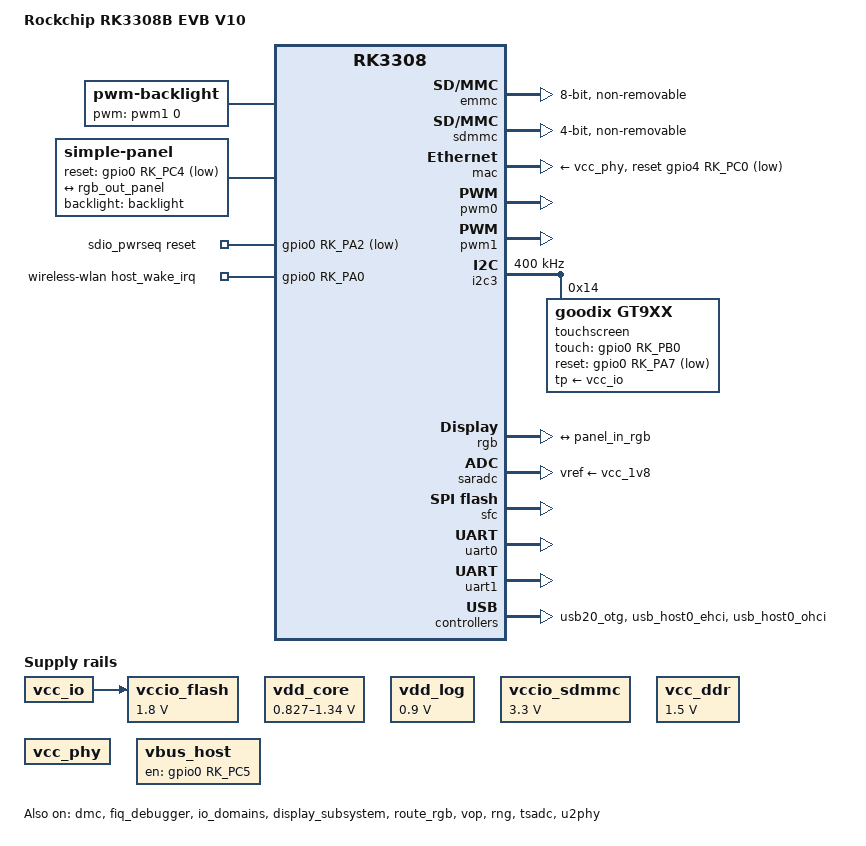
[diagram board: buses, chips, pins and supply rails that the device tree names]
// SPDX-License-Identifier: (GPL-2.0+ OR MIT)
/*
 * Copyright (c) 2018 Fuzhou Rockchip Electronics Co., Ltd
 */

#include <dt-bindings/input/input.h>
#include "rk3308.dtsi"

/ {
	model = "Rockchip RK3308B EVB V10";
	compatible = "rockchip,rk3308b-evb-v10", "rockchip,rk3308";

	chosen {
		bootargs = "earlycon=uart8250,mmio32,0xff0d0000 console=ttyFIQ0 root=PARTUUID=614e0000-0000 rootfstype=ext4 rootwait rw";
		// bootargs = "earlycon=uart8250,mmio32,0xff0d0000 console=ttyS3,1500000n8 root=PARTUUID=614e0000-0000 rootwait snd_aloop.index=7 snd_aloop.use_raw_jiffies=1";
		// bootargs = "earlycon=uart8250,mmio32,0xff0d0000 console=ttyS3,1500000n8 root=/dev/mmcblk0p6 rootwait rw";
		// ttyFIQ0
	};

	backlight: backlight {
		status = "okay";
		compatible = "pwm-backlight";
		pwms = <&pwm1 0 25000 0>;
		brightness-levels = <
			  0   1   2   3   4   5   6   7
			  8   9  10  11  12  13  14  15
			 16  17  18  19  20  21  22  23
			 24  25  26  27  28  29  30  31
			 32  33  34  35  36  37  38  39
			 40  41  42  43  44  45  46  47
			 48  49  50  51  52  53  54  55
			 56  57  58  59  60  61  62  63
			 64  65  66  67  68  69  70  71
			 72  73  74  75  76  77  78  79
			 80  81  82  83  84  85  86  87
			 88  89  90  91  92  93  94  95
			 96  97  98  99 100 101 102 103
			104 105 106 107 108 109 110 111
			112 113 114 115 116 117 118 119
			120 121 122 123 124 125 126 127
			128 129 130 131 132 133 134 135
			136 137 138 139 140 141 142 143
			144 145 146 147 148 149 150 151
			152 153 154 155 156 157 158 159
			160 161 162 163 164 165 166 167
			168 169 170 171 172 173 174 175
			176 177 178 179 180 181 182 183
			184 185 186 187 188 189 190 191
			192 193 194 195 196 197 198 199
			200 201 202 203 204 205 206 207
			208 209 210 211 212 213 214 215
			216 217 218 219 220 221 222 223
			224 225 226 227 228 229 230 231
			232 233 234 235 236 237 238 239
			240 241 242 243 244 245 246 247
			248 249 250 251 252 253 254 255>;
		default-brightness-level = <200>;
	};

	panel: panel {
		compatible = "simple-panel";
 		bus-format = <MEDIA_BUS_FMT_RGB888_1X24>;
		backlight = <&backlight>;
		// enable-gpios = <&gpio0 RK_PC4 GPIO_ACTIVE_HIGH>;
		// enable-delay-ms = <20>;
		reset-gpios = <&gpio0 RK_PC4 GPIO_ACTIVE_LOW>;
		reset-delay-ms = <10>;
		prepare-delay-ms = <20>;
		unprepare-delay-ms = <20>;
		disable-delay-ms = <20>;
		init-delay-ms = <10>;
		// width-mm = <217>;
		// height-mm = <136>;
		// rockchip,cmd-type = "spi";
		status = "okay";

		display-timings {
			native-mode = <&kd050fwfba002_timing>;

			kd050fwfba002_timing: timing0 {
				clock-frequency = <25000000>;
				hactive = <800>;
				vactive = <480>;
				hback-porch = <8>;
				hfront-porch = <8>;
				vback-porch = <16>;
				vfront-porch = <16>;
				hsync-len = <4>;
				vsync-len = <4>;
				hsync-active = <0>;
				vsync-active = <0>;
				de-active = <0>;
				pixelclk-active = <0>;
			};
		};

		port {
			panel_in_rgb: endpoint {
				remote-endpoint = <&rgb_out_panel>;
			};
		};
	};

	// reserved-memory {
	// 	#address-cells = <2>;
	// 	#size-cells = <2>;
	// 	ranges;

	// 	cma {
	// 		compatible = "shared-dma-pool";
	// 		reusable;
	// 		size = <0x0 0x800000>;
	// 		linux,cma-default;
	// 	};
	// };

	sdio_pwrseq: sdio-pwrseq {
		compatible = "mmc-pwrseq-simple";
		pinctrl-names = "default";
		pinctrl-0 = <&wifi_enable_h>;

		/*
		 * On the module itself this is one of these (depending
		 * on the actual card populated):
		 * - SDIO_RESET_L_WL_REG_ON
		 * - PDN (power down when low)
		 */
		reset-gpios = <&gpio0 RK_PA2 GPIO_ACTIVE_LOW>;
	};

	// spdif_rx_sound: spdif-rx-sound {
	// 	compatible = "simple-audio-card";
	// 	simple-audio-card,name = "rockchip,spdif-rx-sound";
	// 	status = "disabled";

	// 	simple-audio-card,cpu {
	// 		sound-dai = <&spdif_rx>;
	// 	};
	// 	simple-audio-card,codec {
	// 		sound-dai = <&dummy_codec>;
	// 	};
	// };

	// spdif_tx_sound: spdif-tx-sound {
	// 	compatible = "simple-audio-card";
	// 	simple-audio-card,name = "rockchip,spdif-tx-sound";
	// 	status = "disabled";
	// 	simple-audio-card,mclk-fs = <128>;
	// 	simple-audio-card,cpu {
	// 		sound-dai = <&spdif_tx>;
	// 	};
	// 	simple-audio-card,codec {
	// 		sound-dai = <&dummy_codec>;
	// 	};
	// };

	vdd_core: vdd-core {
		compatible = "pwm-regulator";
		pwms = <&pwm0 0 5000 1>;
		regulator-name = "vdd_core";
		regulator-min-microvolt = <827000>;
		regulator-max-microvolt = <1340000>;
		regulator-init-microvolt = <1015000>;
		regulator-always-on;
		regulator-boot-on;
		regulator-settling-time-up-us = <250>;
		status = "okay";
	};

	vdd_log: vdd-log {
		compatible = "regulator-fixed";
		regulator-name = "vdd_log";
		regulator-always-on;
		regulator-boot-on;
		regulator-min-microvolt = <900000>;
		regulator-max-microvolt = <900000>;
	};

	// vdd_1v0: vdd-1v0 {
	// 	compatible = "regulator-fixed";
	// 	regulator-name = "vdd_1v0";
	// 	regulator-always-on;
	// 	regulator-boot-on;
	// 	regulator-min-microvolt = <1000000>;
	// 	regulator-max-microvolt = <1000000>;
	// };

	vccio_sdmmc: vcc_io: vcc-io {
		compatible = "regulator-fixed";
		regulator-name = "vcc_io";
		regulator-always-on;
		regulator-boot-on;
		regulator-min-microvolt = <3300000>;
		regulator-max-microvolt = <3300000>;
	};

	vccio_flash: vcc_1v8: vcc-1v8 {
		compatible = "regulator-fixed";
		regulator-name = "vcc_1v8";
		regulator-always-on;
		regulator-boot-on;
		regulator-min-microvolt = <1800000>;
		regulator-max-microvolt = <1800000>;
		vin-supply = <&vcc_io>;
	};

	// vcc_1v8_codec: vcc-1v8-codec {
	// 	compatible = "regulator-fixed";
	// 	regulator-name = "vcc_1v8_codec";
	// 	regulator-always-on;
	// 	regulator-boot-on;
	// 	regulator-min-microvolt = <1800000>;
	// 	regulator-max-microvolt = <1800000>;
	// 	vin-supply = <&vcc_io>;
	// };

	vcc_ddr: vcc-ddr {
		compatible = "regulator-fixed";
		regulator-name = "vcc_ddr";
		regulator-always-on;
		regulator-boot-on;
		regulator-min-microvolt = <1500000>;
		regulator-max-microvolt = <1500000>;
	};

	vcc_phy: vcc-phy-regulator {
	 	compatible = "regulator-fixed";
	 	regulator-name = "vcc_phy";
	 	regulator-always-on;
	 	regulator-boot-on;
	};

	vbus_host: vbus-host-regulator {
		compatible = "regulator-fixed";
		enable-active-high;
		gpio = <&gpio0 RK_PC5 GPIO_ACTIVE_HIGH>;
		pinctrl-names = "default";
		pinctrl-0 = <&usb_drv>;
		regulator-name = "vbus_host";
	};
	
	wireless-bluetooth {
		//compatible = "bluetooth-platdata";
		//uart_rts_gpios = <&gpio4 RK_PA7 GPIO_ACTIVE_LOW>;
		//pinctrl-names = "default", "rts_gpio";
		//pinctrl-0 = <&uart4_rts>;
		//pinctrl-1 = <&uart4_rts_gpio>;
		//BT,power_gpio    = <&gpio4 RK_PB3 GPIO_ACTIVE_HIGH>;
		//BT,wake_host_irq = <&gpio0 RK_PA3 GPIO_ACTIVE_HIGH>;
		//status = "okay";
		status = "disabled";
	};

	wireless-wlan {
		compatible = "wlan-platdata";
		rockchip,grf = <&grf>;
		pinctrl-names = "default";
		pinctrl-0 = <&wifi_wake_host>, <&rtc_32k>;
		wifi_chip_type = "rtl8189fs";
		WIFI,host_wake_irq = <&gpio0 RK_PA0 GPIO_ACTIVE_HIGH>;
		status = "okay";
	};

	// /delete-node/ sdmmc;
	// mmc@ff480000 {
	// 	compatible = "rockchip,rk3308-dw-mshc\0rockchip,rk3288-dw-mshc";
	// 	reg = <0x00 0xff480000 0x00 0x4000>;
	// 	interrupts = <GIC_SPI 76 IRQ_TYPE_LEVEL_HIGH>;
	// 	bus-width = <4>;
	// 	// clocks = <0x02 0x9a 0x02 0x30 0x02 0x31 0x02 0x32>;
	// 	clocks = <&cru HCLK_SDMMC>, <&cru SCLK_SDMMC>,
	// 		 <&cru SCLK_SDMMC_DRV>, <&cru SCLK_SDMMC_SAMPLE>;
	// 	clock-names = "biu", "ciu", "ciu-drive", "ciu-sample";
	// 	fifo-depth = <0x100>;
	// 	max-frequency = <50000000>;
	// 	pinctrl-names = "default";
	// 	pinctrl-0 = <0x68 0x69 0x6a>; //1
	// 	supports-sdio;
	// 	cap-sd-highspeed;
	// 	bus-width = <0x04>;
	// 	non-removable;
	// 	rockchip,default-sample-phase = <0x5a>;
	// 	cap-sdio-irq;
	// 	keep-power-in-suspend;
	// 	mmc-pwrseq = <0x6b>;
	// 	status = "okay";
	// };
};

&cpu0 {
	cpu-supply = <&vdd_core>;
};

&cpu0_opp_table {
	opp-1200000000 {
		status = "okay";
	};
	opp-1296000000 {
		status = "okay";
	};
};

&rk3308bs_cpu0_opp_table {
	opp-1008000000 {
		status = "okay";
	};
	opp-1104000000 {
		status = "okay";
	};
};

&dmc {
	center-supply = <&vdd_log>;
	status = "okay";
};

&emmc {
	bus-width = <8>;
	cap-mmc-highspeed;
	// mmc-hs200-1_8v;
	no-sdio;
	no-sd;
	disable-wp;
	non-removable;
	num-slots = <1>;
	status = "okay";
};


&sdmmc {
	max-frequency = <50000000>;
	bus-width = <4>;
	cap-sd-highspeed;
    cap-sdio-irq;
	// no-1-8-v;
	// vmmc-supply = <&vcc_io>;
	// vqmmc-supply = <&vcc_io>;
	// no-sd;
	// no-mmc;
 	supports-sdio;
	rockchip,default-sample-phase = <0x14>;
	keep-power-in-suspend;
	non-removable;
	mmc-pwrseq = <&sdio_pwrseq>;
	// sd-uhs-sdr104;
	pinctrl-names = "default";
	pinctrl-0 = <&sdmmc_bus4 &sdmmc_cmd &sdmmc_clk>;
	status = "okay";
};

&fiq_debugger {
	rockchip,serial-id = <3>;
	status = "okay";
};

&io_domains {
	status = "okay";

	vccio0-supply = <&vcc_io>;
	vccio1-supply = <&vcc_io>;
	vccio2-supply = <&vcc_io>;
	vccio3-supply = <&vccio_flash>;
	vccio4-supply = <&vcc_io>;
	vccio5-supply = <&vcc_io>;
};

// &i2s_8ch_2 {
// 	status = "okay";
// };

 &mac {
 	phy-supply = <&vcc_phy>;
 	clock_in_out = "output";
 	assigned-clocks = <&cru SCLK_MAC>;
	pinctrl-0 = <&rmiim1_pins &macm1_refclk_12ma>;
	snps,reset-gpio = <&gpio4 RK_PC0 GPIO_ACTIVE_LOW>;
 	snps,reset-active-low;
 	snps,reset-delays-us = <0 50000 50000>;
 	status = "okay";
 };

// &nandc {
// 	status = "okay";
// };

&pinctrl {
	// /delete-node/ sdmmc;
	// sdmmc {
	// 	sdmmc_bus4: sdmmc-bus4 {
	// 		rockchip,pins =
	// 			/* sdmmc_d0 */
	// 			<4 RK_PD0 1 &pcfg_pull_up_4ma>,
	// 			/* sdmmc_d1 */
	// 			<4 RK_PD1 1 &pcfg_pull_up_4ma>,
	// 			/* sdmmc_d2 */
	// 			<4 RK_PD2 1 &pcfg_pull_up_4ma>,
	// 			/* sdmmc_d3 */
	// 			<4 RK_PD3 1 &pcfg_pull_up_4ma>;
	// 	};

	// 	sdmmc_clk: sdmmc-clk {
	// 		rockchip,pins =
	// 			/* sdmmc_clk */
	// 			<4 RK_PD5 1 &pcfg_pull_up_4ma>;
	// 	};

	// 	sdmmc_cmd: sdmmc-cmd {
	// 		rockchip,pins =
	// 			/* sdmmc_cmd */
	// 			<4 RK_PD4 1 &pcfg_pull_up_4ma>;
	// 	};

	// 	sdmmc_det: sdmmc-det {
	// 		rockchip,pins =
	// 			/* sdmmc_det */
	// 			<0 RK_PA3 1 &pcfg_pull_down>;
	// 	};

	// 	sdmmc_pwren: sdmmc-pwren {
	// 		rockchip,pins =
	// 			/* sdmmc_pwren */
	// 			<4 RK_PD6 1 &pcfg_pull_none>;
	// 	};
	// };

	buttons {
		pwr_key: pwr-key {
			rockchip,pins = <0 RK_PA6 RK_FUNC_GPIO &pcfg_pull_up>;
		};
	};

	usb {
		usb_drv: usb-drv {
			rockchip,pins = <0 RK_PC5 RK_FUNC_GPIO &pcfg_pull_none>;
		};
	};

	sdio-pwrseq {
		wifi_enable_h: wifi-enable-h {
			rockchip,pins = <0 RK_PA2 RK_FUNC_GPIO &pcfg_pull_none>;
		};
	};

	wireless-bluetooth {
		uart4_rts_gpio: uart4-rts-gpio {
			rockchip,pins = <4 RK_PA7 RK_FUNC_GPIO &pcfg_pull_none>;
		};
	};

	wireless-wlan {
    	/omit-if-no-ref/
		wifi_wake_host: wifi-wake-host {
			rockchip,pins = <0 RK_PA0 RK_FUNC_GPIO &pcfg_pull_down>;
		};
	};
};

&pwm0 {
	status = "okay";
	pinctrl-names = "active";
	pinctrl-0 = <&pwm0_pin_pull_down>;
};

&pwm1 {
	status = "okay";
};

&i2c3 {
	status = "okay";
	i2c-scl-rising-time-ns = <150>;
    i2c-scl-falling-time-ns = <30>;
    clock-frequency = <400000>;
	touchscreen@14 {
		compatible = "goodix,gt9xx";
		reg = <0x14>;
		touch-gpio = <&gpio0 RK_PB0 IRQ_TYPE_LEVEL_HIGH>;
		reset-gpio = <&gpio0 RK_PA7 GPIO_ACTIVE_LOW>;
		// power-gpio = <&gpio2 RK_PC6 GPIO_ACTIVE_HIGH>;
		max-x = <800>;
		max-y = <480>;
		tp-size = <970>;
		tp-supply = <&vcc_io>;
	};
};

&display_subsystem {
	status = "okay";
};

&rgb {
	status = "okay";
	pinctrl-names = "default";
	pinctrl-0 = <&lcdc_ctl &lcdc_rgb888_m0>;

	ports {
		rgb_out: port@1 {
			reg = <1>;
			#address-cells = <1>;
			#size-cells = <0>;

			rgb_out_panel: endpoint@0 {
				reg = <0>;
				remote-endpoint = <&panel_in_rgb>;
			};
		};
	};
};

&route_rgb {
	connect = <&vop_out_rgb>;
	status = "okay";
};

&vop {
	status = "okay";
};

&rng {
	status = "okay";
};

&rockchip_suspend {
	rockchip,pwm-regulator-config = <
		(0
		| RKPM_PWM_REGULATOR
		)
	>;

	status = "okay";
};

// &spdif_rx {
// 	#sound-dai-cells = <0>;
// };

// &spdif_tx {
// 	#sound-dai-cells = <0>;
// };

&saradc {
	status = "okay";
	vref-supply = <&vcc_1v8>;
};


&sfc {
	status = "okay";
};

&tsadc {
	rockchip,hw-tshut-mode = <0>; /* tshut mode 0:CRU 1:GPIO */
	rockchip,hw-tshut-polarity = <1>; /* tshut polarity 0:LOW 1:HIGH */
	status = "okay";
};

&u2phy {
	status = "okay";

	u2phy_host: host-port {
		phy-supply = <&vbus_host>;
		status = "okay";
	};

	u2phy_otg: otg-port {
		status = "okay";
	};
};

&uart0 {
	pinctrl-names = "default";
	pinctrl-0 = <&uart0_xfer &uart0_cts>;
	status = "okay";
};

&uart1 {
	pinctrl-names = "default";
	pinctrl-0 = <&uart1_xfer>;
	status = "okay";
};
/*
&uart4 {
	pinctrl-names = "default";
	pinctrl-0 = <&uart4_xfer &uart4_cts>;
	status = "okay";
};*/
&usb20_otg {
	status = "okay";
};

&usb_host0_ehci {
	status = "okay";
};

&usb_host0_ohci{
	status = "okay";
};
